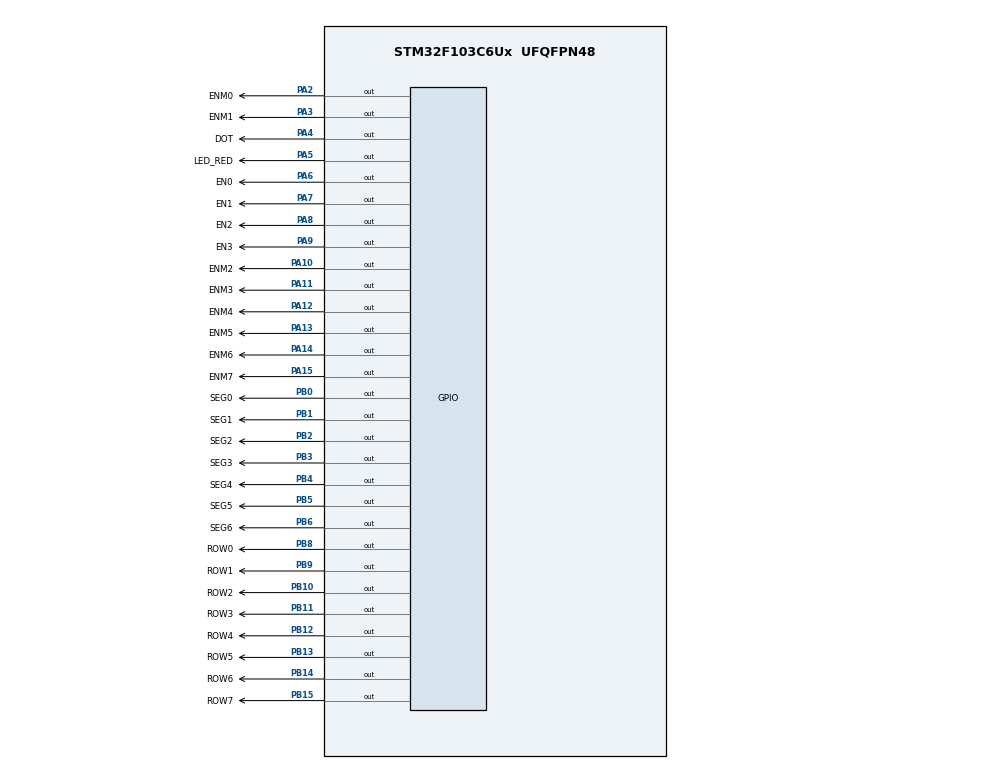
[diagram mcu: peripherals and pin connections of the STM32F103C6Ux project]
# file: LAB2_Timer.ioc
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Mcu.Family=STM32F1
Mcu.Name=STM32F103C6Ux
Mcu.Package=UFQFPN48
NVIC.PriorityGroup=NVIC_PRIORITYGROUP_4
NVIC.TIM2_IRQn=true\:0\:0\:false\:false\:true\:true\:true\:true
PA10.GPIO_Label=ENM2
PA10.Signal=GPIO_Output
PA11.GPIO_Label=ENM3
PA11.Signal=GPIO_Output
PA12.GPIO_Label=ENM4
PA12.Signal=GPIO_Output
PA13.GPIO_Label=ENM5
PA13.Signal=GPIO_Output
PA14.GPIO_Label=ENM6
PA14.Signal=GPIO_Output
PA15.GPIO_Label=ENM7
PA15.Signal=GPIO_Output
PA2.GPIO_Label=ENM0
PA2.Signal=GPIO_Output
PA3.GPIO_Label=ENM1
PA3.Signal=GPIO_Output
PA4.GPIO_Label=DOT
PA4.Signal=GPIO_Output
PA5.GPIO_Label=LED_RED
PA5.Signal=GPIO_Output
PA6.GPIO_Label=EN0
PA6.Signal=GPIO_Output
PA7.GPIO_Label=EN1
PA7.Signal=GPIO_Output
PA8.GPIO_Label=EN2
PA8.Signal=GPIO_Output
PA9.GPIO_Label=EN3
PA9.Signal=GPIO_Output
PB0.GPIO_Label=SEG0
PB0.Signal=GPIO_Output
PB1.GPIO_Label=SEG1
PB1.Signal=GPIO_Output
PB10.GPIO_Label=ROW2
PB10.Signal=GPIO_Output
PB11.GPIO_Label=ROW3
PB11.Signal=GPIO_Output
PB12.GPIO_Label=ROW4
PB12.Signal=GPIO_Output
PB13.GPIO_Label=ROW5
PB13.Signal=GPIO_Output
PB14.GPIO_Label=ROW6
PB14.Signal=GPIO_Output
PB15.GPIO_Label=ROW7
PB15.Signal=GPIO_Output
PB2.GPIO_Label=SEG2
PB2.Signal=GPIO_Output
PB3.GPIO_Label=SEG3
PB3.Signal=GPIO_Output
PB4.GPIO_Label=SEG4
PB4.Signal=GPIO_Output
PB5.GPIO_Label=SEG5
PB5.Signal=GPIO_Output
PB6.GPIO_Label=SEG6
PB6.Signal=GPIO_Output
PB8.GPIO_Label=ROW0
PB8.Signal=GPIO_Output
PB9.GPIO_Label=ROW1
PB9.Signal=GPIO_Output
ProjectManager.HeapSize=0x200
ProjectManager.StackSize=0x400
ProjectManager.TargetToolchain=STM32CubeIDE
RCC.APB1Freq_Value=8000000
RCC.APB2Freq_Value=8000000
TIM2.Period=9
TIM2.Prescaler=7999
VP_SYS_VS_ND.Mode=No_Debug
VP_TIM2_VS_ClockSourceINT.Mode=Internal
board=custom

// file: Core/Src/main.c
/* USER CODE BEGIN Header */
/**
  ******************************************************************************
  * @file           : main.c
  * @brief          : Main program body
  ******************************************************************************
  * @attention
  *
  * Copyright (c) 2025 STMicroelectronics.
  * All rights reserved.
  *
  * This software is licensed under terms that can be found in the LICENSE file
  * in the root directory of this software component.
  * If no LICENSE file comes with this software, it is provided AS-IS.
  *
  ******************************************************************************
  */
/* USER CODE END Header */
#include "main.h"

/* USER CODE BEGIN Includes */
#include "exercise1.h"
#include "exercise2.h"
#include "exercise3.h"
#include "exercise4.h"
#include "exercise5.h"
#include "exercise6.h"
#include "exercise7.h"
#include "exercise8.h"
#include "exercise9.h"
#include "exercise10.h"
/* USER CODE END Includes */

/* USER CODE BEGIN PTD */
#define RUN_EXERCISE 6
/* USER CODE END PTD */

TIM_HandleTypeDef htim2;

void SystemClock_Config(void);
static void MX_GPIO_Init(void);
static void MX_TIM2_Init(void);
/* USER CODE BEGIN PFP */
void HAL_TIM_PeriodElapsedCallback(TIM_HandleTypeDef *htim);
void setTimer(int idx, int counter);
/* USER CODE END PFP */

int main(void)
{

  /* MCU Configuration--------------------------------------------------------*/

  /* Reset of all peripherals, Initializes the Flash interface and the Systick. */
  HAL_Init();

  /* Configure the system clock */
  SystemClock_Config();

  /* Initialize all configured peripherals */
  MX_GPIO_Init();
  MX_TIM2_Init();
  /* USER CODE BEGIN 2 */
  HAL_TIM_Base_Start_IT(&htim2);

  switch (RUN_EXERCISE)
   {
 	  case 1:
 		  ex1_init();
 		  break;
 	  case 2:
 		  ex2_init();
 		  break;
 	  case 3:
 		  ex3_init();
 		  break;
 	  case 4:
 		  ex4_init();
 		  break;
 	  case 5:
 		  ex5_init();
 		  break;
 	  case 6:
 		  ex6_init();
 		  break;
 	  case 7:
 		  ex7_init();
 		  break;
 	  case 8:
 		  ex8_init();
 		  break;
 	  case 9:
 		  ex9_init();
 		  break;
 	  case 10:
 		  ex10_init();
 		  break;
 	  default:
 		  // Do nothing
 		  break;
   }
  /* USER CODE END 2 */

  /* Infinite loop */
  /* USER CODE BEGIN WHILE */
  while (1)
  {
	  switch(RUN_EXERCISE){
	 	  case 1:
	 	   		  ex1_run();
	 	   		  break;
	 	   	  case 2:
	 	   		  ex2_run();
	 	   		  break;
	 	   	  case 3:
	 	   		  ex3_run();
	 	   		  break;
	 	   	  case 4:
	 	   		  ex4_run();
	 	   		  break;
	 	   	  case 5:
	 	   		  ex5_run();
	 	   		  break;
	 	   	  case 6:
	 	   		  ex6_run();
	 	   		  break;
	 	   	  case 7:
	 	   		  ex7_run();
	 	   		  break;
	 	   	  case 8:
	 	   		  ex8_run();
	 	   		  break;
	 	   	  case 9:
	 	   		  ex9_run();
	 	   		  break;
	 	   	  case 10:
	 	   		  ex10_run();
	 	   		  break;
	 	   	  default:
	 	   		  // Do nothing
	 	   		  break;

	 	    }
    /* USER CODE END WHILE */

  }
}

void SystemClock_Config(void)
{
  RCC_OscInitTypeDef RCC_OscInitStruct = {0};
  RCC_ClkInitTypeDef RCC_ClkInitStruct = {0};

  /** Initializes the RCC Oscillators according to the specified parameters
  * in the RCC_OscInitTypeDef structure.
  */
  RCC_OscInitStruct.OscillatorType = RCC_OSCILLATORTYPE_HSI;
  RCC_OscInitStruct.HSIState = RCC_HSI_ON;
  RCC_OscInitStruct.HSICalibrationValue = RCC_HSICALIBRATION_DEFAULT;
  RCC_OscInitStruct.PLL.PLLState = RCC_PLL_NONE;
  if (HAL_RCC_OscConfig(&RCC_OscInitStruct) != HAL_OK)
  {
    Error_Handler();
  }

  /** Initializes the CPU, AHB and APB buses clocks
  */
  RCC_ClkInitStruct.ClockType = RCC_CLOCKTYPE_HCLK|RCC_CLOCKTYPE_SYSCLK
                              |RCC_CLOCKTYPE_PCLK1|RCC_CLOCKTYPE_PCLK2;
  RCC_ClkInitStruct.SYSCLKSource = RCC_SYSCLKSOURCE_HSI;
  RCC_ClkInitStruct.AHBCLKDivider = RCC_SYSCLK_DIV1;
  RCC_ClkInitStruct.APB1CLKDivider = RCC_HCLK_DIV1;
  RCC_ClkInitStruct.APB2CLKDivider = RCC_HCLK_DIV1;

  if (HAL_RCC_ClockConfig(&RCC_ClkInitStruct, FLASH_LATENCY_0) != HAL_OK)
  {
    Error_Handler();
  }
}

static void MX_TIM2_Init(void)
{

  TIM_ClockConfigTypeDef sClockSourceConfig = {0};
  TIM_MasterConfigTypeDef sMasterConfig = {0};

  htim2.Instance = TIM2;
  htim2.Init.Prescaler = 7999;
  htim2.Init.CounterMode = TIM_COUNTERMODE_UP;
  htim2.Init.Period = 9;
  htim2.Init.ClockDivision = TIM_CLOCKDIVISION_DIV1;
  htim2.Init.AutoReloadPreload = TIM_AUTORELOAD_PRELOAD_DISABLE;
  if (HAL_TIM_Base_Init(&htim2) != HAL_OK)
  {
    Error_Handler();
  }
  sClockSourceConfig.ClockSource = TIM_CLOCKSOURCE_INTERNAL;
  if (HAL_TIM_ConfigClockSource(&htim2, &sClockSourceConfig) != HAL_OK)
  {
    Error_Handler();
  }
  sMasterConfig.MasterOutputTrigger = TIM_TRGO_RESET;
  sMasterConfig.MasterSlaveMode = TIM_MASTERSLAVEMODE_DISABLE;
  if (HAL_TIMEx_MasterConfigSynchronization(&htim2, &sMasterConfig) != HAL_OK)
  {
    Error_Handler();
  }

}

static void MX_GPIO_Init(void)
{
  GPIO_InitTypeDef GPIO_InitStruct = {0};

  /* GPIO Ports Clock Enable */
  __HAL_RCC_GPIOA_CLK_ENABLE();
  __HAL_RCC_GPIOB_CLK_ENABLE();

  /*Configure GPIO pin Output Level */
  HAL_GPIO_WritePin(GPIOA, ENM0_Pin|ENM1_Pin|DOT_Pin|LED_RED_Pin
                          |EN0_Pin|EN1_Pin|EN2_Pin|EN3_Pin
                          |ENM2_Pin|ENM3_Pin|ENM4_Pin|ENM5_Pin
                          |ENM6_Pin|ENM7_Pin, GPIO_PIN_RESET);

  /*Configure GPIO pin Output Level */
  HAL_GPIO_WritePin(GPIOB, SEG0_Pin|SEG1_Pin|SEG2_Pin|ROW2_Pin
                          |ROW3_Pin|ROW4_Pin|ROW5_Pin|ROW6_Pin
                          |ROW7_Pin|SEG3_Pin|SEG4_Pin|SEG5_Pin
                          |SEG6_Pin|ROW0_Pin|ROW1_Pin, GPIO_PIN_RESET);

  /*Configure GPIO pins : ENM0_Pin ENM1_Pin DOT_Pin LED_RED_Pin
                           EN0_Pin EN1_Pin EN2_Pin EN3_Pin
                           ENM2_Pin ENM3_Pin ENM4_Pin ENM5_Pin
                           ENM6_Pin ENM7_Pin */
  GPIO_InitStruct.Pin = ENM0_Pin|ENM1_Pin|DOT_Pin|LED_RED_Pin
                          |EN0_Pin|EN1_Pin|EN2_Pin|EN3_Pin
                          |ENM2_Pin|ENM3_Pin|ENM4_Pin|ENM5_Pin
                          |ENM6_Pin|ENM7_Pin;
  GPIO_InitStruct.Mode = GPIO_MODE_OUTPUT_PP;
  GPIO_InitStruct.Pull = GPIO_NOPULL;
  GPIO_InitStruct.Speed = GPIO_SPEED_FREQ_LOW;
  HAL_GPIO_Init(GPIOA, &GPIO_InitStruct);

  /*Configure GPIO pins : SEG0_Pin SEG1_Pin SEG2_Pin ROW2_Pin
                           ROW3_Pin ROW4_Pin ROW5_Pin ROW6_Pin
                           ROW7_Pin SEG3_Pin SEG4_Pin SEG5_Pin
                           SEG6_Pin ROW0_Pin ROW1_Pin */
  GPIO_InitStruct.Pin = SEG0_Pin|SEG1_Pin|SEG2_Pin|ROW2_Pin
                          |ROW3_Pin|ROW4_Pin|ROW5_Pin|ROW6_Pin
                          |ROW7_Pin|SEG3_Pin|SEG4_Pin|SEG5_Pin
                          |SEG6_Pin|ROW0_Pin|ROW1_Pin;
  GPIO_InitStruct.Mode = GPIO_MODE_OUTPUT_PP;
  GPIO_InitStruct.Pull = GPIO_NOPULL;
  GPIO_InitStruct.Speed = GPIO_SPEED_FREQ_LOW;
  HAL_GPIO_Init(GPIOB, &GPIO_InitStruct);

}

/* USER CODE BEGIN 4 */
void HAL_TIM_PeriodElapsedCallback(TIM_HandleTypeDef *htim)
{
	timerRun();

}
/* USER CODE END 4 */

void Error_Handler(void)
{
  __disable_irq();
  while (1)
  {
  }
}
